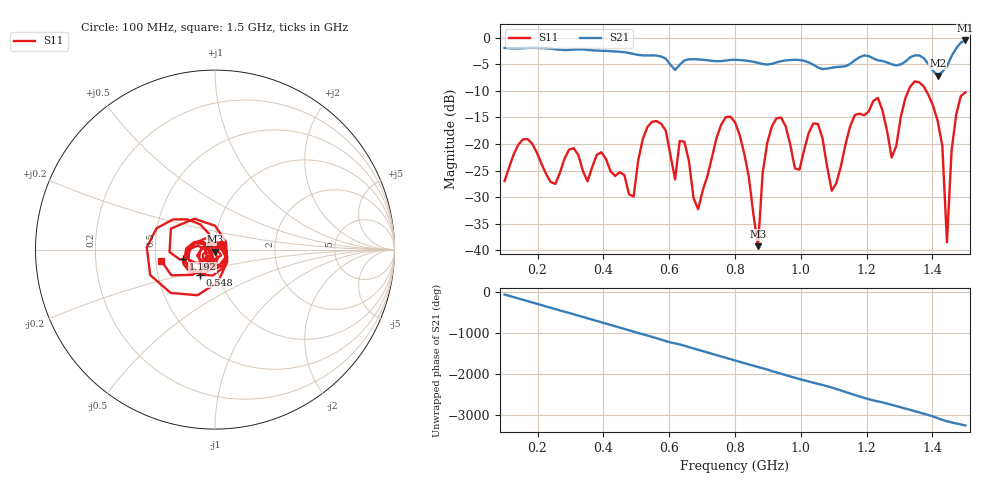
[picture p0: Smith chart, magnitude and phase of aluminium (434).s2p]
! NanoVNA-App
! Date: 2025-09-25 14:58:39
! Start: 100MHz Stop: 1,5GHz Points: 101
! S-Parameter data: F S11 S21 S12 S22
# Hz S RI R 50
!  Frequency  S11_Real  S11_Imag  S21_Real  S21_Imag  S12_Real  S12_Imag  S22_Real  S22_Imag
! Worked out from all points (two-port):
!   101 points, 100 MHz to 1.5 GHz, reference 50 ohm
!   highest |S21| = -0.52 dB at 1.5 GHz (marker M1); lowest = -7.2 dB at 1.416 GHz (marker M2)
!   |S21| within 3 dB of the highest: start of sweep to 574.6 MHz; 1.458 GHz to end of sweep (the widest 2 of 4)
!   lowest |S11| = -39.2 dB at 870 MHz (marker M3), VSWR 1.02, Z = 50.2 - j1.09 ohm
!   |S11| at or under -10 dB: start of sweep to 1.327 GHz; 1.381 GHz to end of sweep
!   S12 and S22 are empty: the file has one direction only
!   S11 on the Smith chart (normalised r, x): 100 MHz: 1.07, +0.06; 548 MHz: 0.82, -0.23; 1.192 GHz: 0.69, -0.08; 1.5 GHz: 0.53, -0.07
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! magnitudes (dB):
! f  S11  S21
! 100 MHz  -27.0  -1.9
! 156 MHz  -19.1  -2.0
! 338 MHz  -25.1  -2.2
! 492 MHz  -29.9  -3.1
! 548 MHz  -15.8  -3.3
! 576 MHz  -16.2  -3.5
! 688 MHz  -32.3  -4.1
! 800 MHz  -15.9  -4.1
! 870 MHz  -39.2  -4.7
! 912 MHz  -16.7  -4.9
! 996 MHz  -24.8  -4.2
! 1.038 GHz  -16.1  -5.1
! 1.094 GHz  -28.8  -5.7
! 1.192 GHz  -14.6  -3.3
! 1.234 GHz  -11.3  -4.2
! 1.276 GHz  -22.5  -5.0
! 1.346 GHz  -8.2  -3.3
! 1.416 GHz  -15.7  -7.2
! 1.43 GHz  -20.4  -6.4
! 1.444 GHz  -38.5  -5.4
! 1.458 GHz  -21.3  -3.4
! 1.5 GHz  -10.3  -0.5
